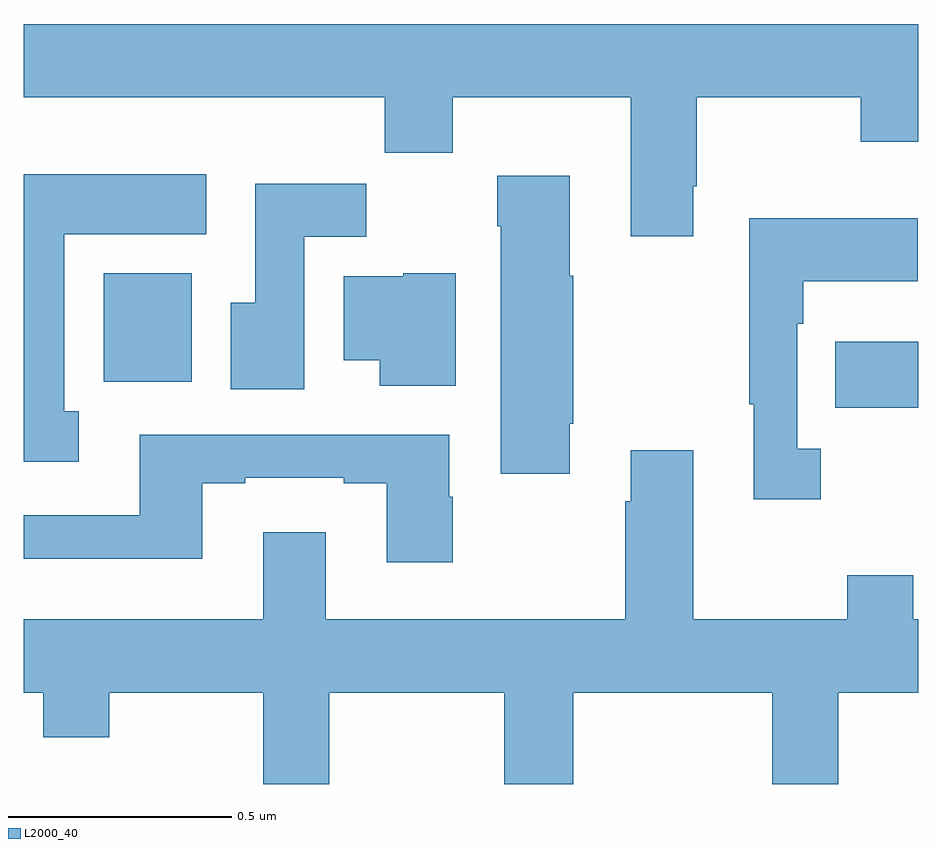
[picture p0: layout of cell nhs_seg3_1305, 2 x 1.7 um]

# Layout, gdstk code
import gdstk
lib = gdstk.Library(unit=1e-6, precision=1e-09)
def R(c, l, rs):  # rectangles x0, y0, x1, y1
    for r in rs: c.add(gdstk.rectangle(r[:2], r[2:], *l))
def P(c, l, *ps):  # polygons
    for p in ps: c.add(gdstk.Polygon(p, *l))
L2000_40 = (2000, 40)

nhs_seg3_1305 = lib.new_cell('nhs_seg3_1305')
R(nhs_seg3_1305, L2000_40, [(128.815,680.242,129,680.389), (127.178,680.3,127.375,680.542)])
P(nhs_seg3_1305, L2000_40, [(128.497,680.737),(128.505,680.737),(128.505,680.936),(128.872,680.936),(128.872,680.837),(129,680.837),(129,681.1),(127,681.1),(127,680.936),(127.807,680.936),(127.807,680.812),(127.959,680.812),(127.959,680.936),(128.357,680.936),(128.357,680.625),(128.497,680.625)],
  [(127.123,680.234),(127.09,680.234),(127.09,680.63),(127.408,680.63),(127.408,680.764),(127,680.764),(127,680.121),(127.123,680.121)],
  [(128.221,680.206),(128.229,680.206),(128.229,680.537),(128.221,680.537),(128.221,680.761),(128.059,680.761),(128.059,680.648),(128.066,680.648),(128.066,680.094),(128.221,680.094)],
  [(127.627,680.624),(127.766,680.624),(127.766,680.743),(127.517,680.743),(127.517,680.476),(127.463,680.476),(127.463,680.283),(127.627,680.283)],
  [(128.782,680.15),(128.73,680.15),(128.73,680.429),(128.743,680.429),(128.743,680.525),(128.999,680.525),(128.999,680.665),(128.622,680.665),(128.622,680.249),(128.633,680.249),(128.633,680.037),(128.782,680.037)],
  [(127.966,680.542),(127.848,680.542),(127.848,680.536),(127.715,680.536),(127.715,680.348),(127.796,680.348),(127.796,680.291),(127.966,680.291)],
  [(127.959,680.043),(127.951,680.043),(127.951,680.181),(127.259,680.181),(127.259,680.001),(127,680.001),(127,679.904),(127.399,679.904),(127.399,680.073),(127.495,680.073),(127.495,680.085),(127.715,680.085),(127.715,680.073),(127.811,680.073),(127.811,679.896),(127.959,679.896)],
  [(127.683,679.604),(128.074,679.604),(128.074,679.4),(128.229,679.4),(128.229,679.604),(128.674,679.604),(128.674,679.4),(128.821,679.4),(128.821,679.604),(129,679.604),(129,679.768),(128.989,679.768),(128.989,679.867),(128.842,679.867),(128.842,679.768),(128.497,679.768),(128.497,680.146),(128.357,680.146),(128.357,680.033),(128.345,680.033),(128.345,679.768),(127.675,679.768),(127.675,679.963),(127.535,679.963),(127.535,679.768),(127,679.768),(127,679.604),(127.043,679.604),(127.043,679.505),(127.191,679.505),(127.191,679.604),(127.535,679.604),(127.535,679.4),(127.683,679.4)])

lib.write_gds('nhs_seg3_1305.gds')
